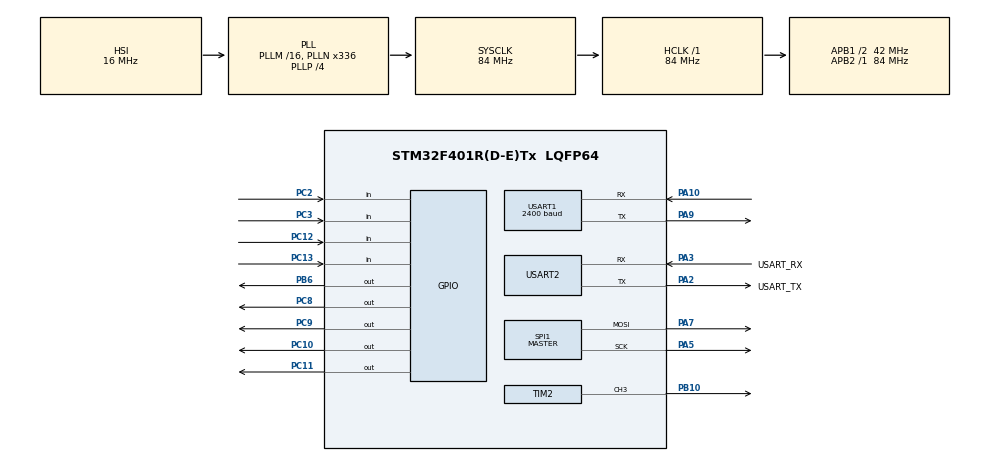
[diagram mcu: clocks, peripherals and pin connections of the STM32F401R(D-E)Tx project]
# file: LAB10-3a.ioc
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Dma.Request0=SPI1_TX
Dma.Request1=USART1_RX
Dma.SPI1_TX.0.Direction=DMA_MEMORY_TO_PERIPH
Dma.SPI1_TX.0.FIFOMode=DMA_FIFOMODE_DISABLE
Dma.SPI1_TX.0.Instance=DMA2_Stream3
Dma.SPI1_TX.0.MemDataAlignment=DMA_MDATAALIGN_BYTE
Dma.SPI1_TX.0.MemInc=DMA_MINC_ENABLE
Dma.SPI1_TX.0.Mode=DMA_NORMAL
Dma.SPI1_TX.0.PeriphDataAlignment=DMA_PDATAALIGN_BYTE
Dma.SPI1_TX.0.PeriphInc=DMA_PINC_DISABLE
Dma.SPI1_TX.0.Priority=DMA_PRIORITY_LOW
Dma.USART1_RX.1.Direction=DMA_PERIPH_TO_MEMORY
Dma.USART1_RX.1.FIFOMode=DMA_FIFOMODE_DISABLE
Dma.USART1_RX.1.Instance=DMA2_Stream2
Dma.USART1_RX.1.MemDataAlignment=DMA_MDATAALIGN_BYTE
Dma.USART1_RX.1.MemInc=DMA_MINC_ENABLE
Dma.USART1_RX.1.Mode=DMA_NORMAL
Dma.USART1_RX.1.PeriphDataAlignment=DMA_PDATAALIGN_BYTE
Dma.USART1_RX.1.PeriphInc=DMA_PINC_DISABLE
Dma.USART1_RX.1.Priority=DMA_PRIORITY_LOW
Mcu.Family=STM32F4
Mcu.Name=STM32F401R(D-E)Tx
Mcu.Package=LQFP64
NVIC.DMA2_Stream2_IRQn=true\:0\:0\:false\:false\:true\:false\:true\:true
NVIC.DMA2_Stream3_IRQn=true\:0\:0\:false\:false\:true\:false\:true\:true
NVIC.PriorityGroup=NVIC_PRIORITYGROUP_4
NVIC.TIM3_IRQn=true\:0\:0\:false\:false\:true\:true\:true\:true
NVIC.TIM4_IRQn=true\:1\:0\:false\:false\:true\:true\:true\:true
NVIC.USART1_IRQn=true\:0\:0\:false\:false\:true\:true\:true\:true
PA10.Mode=Asynchronous
PA10.Signal=USART1_RX
PA13.GPIO_Label=TMS
PA13.Mode=Trace_Asynchronous_SW
PA13.Signal=SYS_JTMS-SWDIO
PA14.GPIO_Label=TCK
PA14.Mode=Trace_Asynchronous_SW
PA14.Signal=SYS_JTCK-SWCLK
PA2.GPIO_Label=USART_TX
PA2.GPIO_Mode=GPIO_MODE_AF_PP
PA2.GPIO_PuPd=GPIO_NOPULL
PA2.GPIO_Speed=GPIO_SPEED_FREQ_LOW
PA2.Mode=Asynchronous
PA2.Signal=USART2_TX
PA3.GPIO_Label=USART_RX
PA3.GPIO_Mode=GPIO_MODE_AF_PP
PA3.GPIO_PuPd=GPIO_NOPULL
PA3.GPIO_Speed=GPIO_SPEED_FREQ_LOW
PA3.Mode=Asynchronous
PA3.Signal=USART2_RX
PA5.Mode=TX_Only_Simplex_Unidirect_Master
PA5.Signal=SPI1_SCK
PA7.Mode=TX_Only_Simplex_Unidirect_Master
PA7.Signal=SPI1_MOSI
PA9.Mode=Asynchronous
PA9.Signal=USART1_TX
PB10.Signal=S_TIM2_CH3
PB3.GPIO_Label=SWO
PB3.Mode=Trace_Asynchronous_SW
PB3.Signal=SYS_JTDO-SWO
PB6.Signal=GPIO_Output
PC10.Signal=GPIO_Output
PC11.Signal=GPIO_Output
PC12.Signal=GPIO_Input
PC13-ANTI_TAMP.Signal=GPIO_Input
PC14-OSC32_IN.Mode=LSE-External-Oscillator
PC14-OSC32_IN.Signal=RCC_OSC32_IN
PC15-OSC32_OUT.Mode=LSE-External-Oscillator
PC15-OSC32_OUT.Signal=RCC_OSC32_OUT
PC2.Signal=GPIO_Input
PC3.Signal=GPIO_Input
PC8.Signal=GPIO_Output
PC9.Signal=GPIO_Output
PH0\ -\ OSC_IN.Mode=HSE-External-Clock-Source
PH0\ -\ OSC_IN.Signal=RCC_OSC_IN
PH1\ -\ OSC_OUT.Mode=HSE-External-Clock-Source
PH1\ -\ OSC_OUT.Signal=RCC_OSC_OUT
ProjectManager.HeapSize=0x200
ProjectManager.StackSize=0x400
ProjectManager.TargetToolchain=STM32CubeIDE
RCC.48MHZClocksFreq_Value=48000000
RCC.AHBFreq_Value=84000000
RCC.APB1CLKDivider=RCC_HCLK_DIV2
RCC.APB1Freq_Value=42000000
RCC.APB1TimFreq_Value=84000000
RCC.APB2Freq_Value=84000000
RCC.APB2TimFreq_Value=84000000
RCC.CortexFreq_Value=84000000
RCC.HCLKFreq_Value=84000000
RCC.HSE_VALUE=8000000
RCC.HSI_VALUE=16000000
RCC.PLLN=336
RCC.PLLP=RCC_PLLP_DIV4
RCC.PLLQ=7
RCC.SYSCLKFreq_VALUE=84000000
RCC.SYSCLKSource=RCC_SYSCLKSOURCE_PLLCLK
RCC.VCOOutputFreq_Value=336000000
SH.S_TIM2_CH3.0=TIM2_CH3,PWM Generation3 CH3
SPI1.BaudRatePrescaler=SPI_BAUDRATEPRESCALER_4
SPI1.Direction=SPI_DIRECTION_2LINES
SPI1.Mode=SPI_MODE_MASTER
SPI1.VirtualType=VM_MASTER
TIM2.Channel-PWM\ Generation3\ CH3=TIM_CHANNEL_3
TIM2.Period=736
TIM2.Prescaler=2
TIM2.Pulse-PWM\ Generation3\ CH3=368
TIM3.Period=34999
TIM4.Period=39
TIM4.Prescaler=8399
USART1.BaudRate=2400
USART1.VirtualMode=VM_ASYNC
USART2.VirtualMode=VM_ASYNC
VP_TIM3_VS_ClockSourceINT.Mode=Internal
VP_TIM4_VS_ClockSourceINT.Mode=Internal
board=NUCLEO-F401RE

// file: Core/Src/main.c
/* USER CODE BEGIN Header */
/**
  ******************************************************************************
  * @file           : main.c
  * @brief          : Main program body
  ******************************************************************************
  * @attention
  *
  * Copyright (c) 2026 STMicroelectronics.
  * All rights reserved.
  *
  * This software is licensed under terms that can be found in the LICENSE file
  * in the root directory of this software component.
  * If no LICENSE file comes with this software, it is provided AS-IS.
  *
  ******************************************************************************
  */
/* USER CODE END Header */
#include "main.h"

SPI_HandleTypeDef hspi1;
DMA_HandleTypeDef hdma_spi1_tx;

TIM_HandleTypeDef htim2;
TIM_HandleTypeDef htim3;
TIM_HandleTypeDef htim4;

UART_HandleTypeDef huart1;
UART_HandleTypeDef huart2;
DMA_HandleTypeDef hdma_usart1_rx;

/* USER CODE BEGIN PV */

/* Keyboard variables --------------------------------------------------------*/

// Row and Column pin definitions for the 4x4 keypad
const uint16_t column_pins[4] = { GPIO_PIN_8, GPIO_PIN_9, GPIO_PIN_10, GPIO_PIN_11 };
const uint16_t row_pins[4] = { GPIO_PIN_12, GPIO_PIN_13, GPIO_PIN_2, GPIO_PIN_3 };

// State tracking arrays for debouncing
uint8_t stable[4][4] = {0};
uint8_t counter[4][4] = {0};

uint8_t col_index = 0;
uint8_t row_index = 0;

const uint8_t lut[4][4] = {
		{'0', '1', '2', '3'},
		{'4', '5', '6', '7'},
		{'8', '9', 'A', 'B'},
		{'C', 'D', 'E', 'F'}
};

/* LED matrix variables ------------------------------------------------------*/

// 5-column pattern for the led matrix letters
const uint8_t led_matrix_letters[16][5][2] = {
	{{62,  16}, {113, 8}, {73,  4}, {71,  2}, {62,  1}}, // Number 0
	{{33,  16}, {65,  8}, {127, 4}, {1,   2}, {1,   1}}, // Number 1
	{{35,  16}, {69,  8}, {73,  4}, {81,  2}, {33,  1}}, // Number 2
	{{65,  16}, {73,  8}, {73,  4}, {73,  2}, {54,  1}}, // Number 3
	{{120, 16}, {8,   8}, {8,   4}, {127, 2}, {8,   1}}, // Number 4
	{{121, 16}, {73,  8}, {73,  4}, {73,  2}, {70,  1}}, // Number 5
	{{62,  16}, {73,  8}, {73,  4}, {73,  2}, {70,  1}}, // Number 6
	{{64,  16}, {64,  8}, {67,  4}, {76,  2}, {112, 1}}, // Number 7
	{{54,  16}, {73,  8}, {73,  4}, {73,  2}, {54,  1}}, // Number 8
	{{48,  16}, {72,  8}, {72,  4}, {72,  2}, {63,  1}}, // Number 9
	{{31,  16}, {36,  8}, {68,  4}, {36,  2}, {31,  1}}, // Letter A
	{{127, 16}, {73,  8}, {73,  4}, {73,  2}, {54,  1}}, // Letter B
	{{62,  16}, {65,  8}, {65,  4}, {65,  2}, {34,  1}}, // Letter C
	{{127, 16}, {65,  8}, {65,  4}, {65,  2}, {62,  1}}, // Letter D
	{{127, 16}, {73,  8}, {73,  4}, {73,  2}, {65,  1}}, // Letter E
	{{127, 16}, {72,  8}, {72,  4}, {72,  2}, {64,  1}}, // Letter F
};

uint8_t led_current_column = 0;
uint8_t led_current_char_index = 0;

// SPI buffer
uint8_t tx_buffer[2];

/* IR Transmission variables -------------------------------------------------*/

volatile uint8_t IR_busy_flag = 0;
volatile uint8_t IR_tx_byte;
volatile uint8_t IR_tx_bit_index = 0;

/* IR receive variables ------------------------------------------------------*/

uint8_t IR_rx_byte;

/* USER CODE END PV */

void SystemClock_Config(void);
static void MX_GPIO_Init(void);
static void MX_DMA_Init(void);
static void MX_USART2_UART_Init(void);
static void MX_USART1_UART_Init(void);
static void MX_SPI1_Init(void);
static void MX_TIM2_Init(void);
static void MX_TIM3_Init(void);
static void MX_TIM4_Init(void);

/* USER CODE BEGIN 0 */

// This function initiates the transmission of a byte via the IR transmitter.
void IR_Transmit_Byte(uint8_t byte)
{
  // Check if the IR transmitter is currently busy
  if (IR_busy_flag == 1) return;

  // Reset the bit index for the new transmission
  IR_busy_flag = 1;
  IR_tx_byte = byte;

  // Start the timer to begin the transmission process
  HAL_TIM_Base_Start_IT(&htim3);
}

// This function handles the transmission of bits for the IR transmitter.
void IR_transmission_routine()
{
  switch (IR_tx_bit_index) {

    case 0:

      // Start the PWM signal for the start bit
      HAL_TIM_PWM_Start(&htim2, TIM_CHANNEL_3);
      break;

    case 9:

      // Stop the PWM signal for the stop bit
      HAL_TIM_PWM_Stop(&htim2, TIM_CHANNEL_3);
      break;

    case 10:

      HAL_TIM_Base_Stop(&htim3);
      IR_busy_flag = 0;
      break;

    default:

      if ((IR_tx_byte >> (IR_tx_bit_index - 1)) & 0x01) {

        // Send '1' by stopping the PWM signal
        HAL_TIM_PWM_Stop(&htim2, TIM_CHANNEL_3);

      } else {

        // Send '0' by starting the PWM signal
        HAL_TIM_PWM_Start(&htim2, TIM_CHANNEL_3);
      }
  }

  // Move to the next bit in the transmission sequence
  IR_tx_bit_index = (IR_tx_bit_index + 1) % 11;
}

// This function reads the state of the keyboard and handles debouncing.
void keyboard_read_routine()
{
  // Read the row for the current active column
  for (row_index = 0; row_index < 4; ++row_index) {

    // Check the status of the key
    uint8_t pressed = (HAL_GPIO_ReadPin(GPIOC, row_pins[row_index]) == GPIO_PIN_RESET);

    // Debounce logic
    if (pressed == stable[row_index][col_index]) {

      counter[row_index][col_index] = 0;

    } else {

      counter[row_index][col_index]++;

      // Validate input after it has been stable for 4 consecutive polling cycles
      if (counter[row_index][col_index] > 4) {

        stable[row_index][col_index] = pressed;
        counter[row_index][col_index] = 0;

        // Transmit the character via IR
        if (pressed) IR_Transmit_Byte(lut[row_index][col_index]);
      }
    }
  }

  // Move to the next column
  HAL_GPIO_WritePin(GPIOC, column_pins[col_index], GPIO_PIN_RESET);
  col_index = (col_index + 1) % 4;
  HAL_GPIO_WritePin(GPIOC, column_pins[col_index], GPIO_PIN_SET);
}

// This function refreshes the LED matrix display by sending the current column data via SPI.
void led_refresh_routine()
{
  // Load the buffer explicitly safely for DMA
  tx_buffer[0] = led_matrix_letters[led_current_char_index][led_current_column][0];
  tx_buffer[1] = led_matrix_letters[led_current_char_index][led_current_column][1];

  // Pull the RCLK pin LOW
  HAL_GPIO_WritePin(GPIOB, GPIO_PIN_6, GPIO_PIN_RESET);

  // Start the 2-byte SPI transfer using DMA and the dedicated buffer
  HAL_SPI_Transmit_DMA(&hspi1, tx_buffer, 2);
}

/* USER CODE END 0 */

int main(void)
{

  /* MCU Configuration--------------------------------------------------------*/

  /* Reset of all peripherals, Initializes the Flash interface and the Systick. */
  HAL_Init();

  /* Configure the system clock */
  SystemClock_Config();

  /* Initialize all configured peripherals */
  MX_GPIO_Init();
  MX_DMA_Init();
  MX_USART2_UART_Init();
  MX_USART1_UART_Init();
  MX_SPI1_Init();
  MX_TIM2_Init();
  MX_TIM3_Init();
  MX_TIM4_Init();
  /* USER CODE BEGIN 2 */

  // Start listening for incoming IR UART data
  HAL_UART_Receive_DMA(&huart1, &IR_rx_byte, 1);

  // Start the UI polling timer (Keypad and LED multiplexing)
  HAL_TIM_Base_Start_IT(&htim4);

  /* USER CODE END 2 */

  /* Infinite loop */
  while (1)
  {

  }
}

void SystemClock_Config(void)
{
  RCC_OscInitTypeDef RCC_OscInitStruct = {0};
  RCC_ClkInitTypeDef RCC_ClkInitStruct = {0};

  /** Configure the main internal regulator output voltage
  */
  __HAL_RCC_PWR_CLK_ENABLE();
  __HAL_PWR_VOLTAGESCALING_CONFIG(PWR_REGULATOR_VOLTAGE_SCALE2);

  /** Initializes the RCC Oscillators according to the specified parameters
  * in the RCC_OscInitTypeDef structure.
  */
  RCC_OscInitStruct.OscillatorType = RCC_OSCILLATORTYPE_HSI;
  RCC_OscInitStruct.HSIState = RCC_HSI_ON;
  RCC_OscInitStruct.HSICalibrationValue = RCC_HSICALIBRATION_DEFAULT;
  RCC_OscInitStruct.PLL.PLLState = RCC_PLL_ON;
  RCC_OscInitStruct.PLL.PLLSource = RCC_PLLSOURCE_HSI;
  RCC_OscInitStruct.PLL.PLLM = 16;
  RCC_OscInitStruct.PLL.PLLN = 336;
  RCC_OscInitStruct.PLL.PLLP = RCC_PLLP_DIV4;
  RCC_OscInitStruct.PLL.PLLQ = 7;
  if (HAL_RCC_OscConfig(&RCC_OscInitStruct) != HAL_OK)
  {
    Error_Handler();
  }

  /** Initializes the CPU, AHB and APB buses clocks
  */
  RCC_ClkInitStruct.ClockType = RCC_CLOCKTYPE_HCLK|RCC_CLOCKTYPE_SYSCLK
                              |RCC_CLOCKTYPE_PCLK1|RCC_CLOCKTYPE_PCLK2;
  RCC_ClkInitStruct.SYSCLKSource = RCC_SYSCLKSOURCE_PLLCLK;
  RCC_ClkInitStruct.AHBCLKDivider = RCC_SYSCLK_DIV1;
  RCC_ClkInitStruct.APB1CLKDivider = RCC_HCLK_DIV2;
  RCC_ClkInitStruct.APB2CLKDivider = RCC_HCLK_DIV1;

  if (HAL_RCC_ClockConfig(&RCC_ClkInitStruct, FLASH_LATENCY_2) != HAL_OK)
  {
    Error_Handler();
  }
}

static void MX_SPI1_Init(void)
{

  /* SPI1 parameter configuration*/
  hspi1.Instance = SPI1;
  hspi1.Init.Mode = SPI_MODE_MASTER;
  hspi1.Init.Direction = SPI_DIRECTION_2LINES;
  hspi1.Init.DataSize = SPI_DATASIZE_8BIT;
  hspi1.Init.CLKPolarity = SPI_POLARITY_LOW;
  hspi1.Init.CLKPhase = SPI_PHASE_1EDGE;
  hspi1.Init.NSS = SPI_NSS_SOFT;
  hspi1.Init.BaudRatePrescaler = SPI_BAUDRATEPRESCALER_4;
  hspi1.Init.FirstBit = SPI_FIRSTBIT_MSB;
  hspi1.Init.TIMode = SPI_TIMODE_DISABLE;
  hspi1.Init.CRCCalculation = SPI_CRCCALCULATION_DISABLE;
  hspi1.Init.CRCPolynomial = 10;
  if (HAL_SPI_Init(&hspi1) != HAL_OK)
  {
    Error_Handler();
  }

}

static void MX_TIM2_Init(void)
{

  TIM_MasterConfigTypeDef sMasterConfig = {0};
  TIM_OC_InitTypeDef sConfigOC = {0};

  htim2.Instance = TIM2;
  htim2.Init.Prescaler = 2;
  htim2.Init.CounterMode = TIM_COUNTERMODE_UP;
  htim2.Init.Period = 736;
  htim2.Init.ClockDivision = TIM_CLOCKDIVISION_DIV1;
  htim2.Init.AutoReloadPreload = TIM_AUTORELOAD_PRELOAD_DISABLE;
  if (HAL_TIM_PWM_Init(&htim2) != HAL_OK)
  {
    Error_Handler();
  }
  sMasterConfig.MasterOutputTrigger = TIM_TRGO_RESET;
  sMasterConfig.MasterSlaveMode = TIM_MASTERSLAVEMODE_DISABLE;
  if (HAL_TIMEx_MasterConfigSynchronization(&htim2, &sMasterConfig) != HAL_OK)
  {
    Error_Handler();
  }
  sConfigOC.OCMode = TIM_OCMODE_PWM1;
  sConfigOC.Pulse = 368;
  sConfigOC.OCPolarity = TIM_OCPOLARITY_HIGH;
  sConfigOC.OCFastMode = TIM_OCFAST_DISABLE;
  if (HAL_TIM_PWM_ConfigChannel(&htim2, &sConfigOC, TIM_CHANNEL_3) != HAL_OK)
  {
    Error_Handler();
  }
  HAL_TIM_MspPostInit(&htim2);

}

static void MX_TIM3_Init(void)
{

  TIM_ClockConfigTypeDef sClockSourceConfig = {0};
  TIM_MasterConfigTypeDef sMasterConfig = {0};

  htim3.Instance = TIM3;
  htim3.Init.Prescaler = 0;
  htim3.Init.CounterMode = TIM_COUNTERMODE_UP;
  htim3.Init.Period = 34999;
  htim3.Init.ClockDivision = TIM_CLOCKDIVISION_DIV1;
  htim3.Init.AutoReloadPreload = TIM_AUTORELOAD_PRELOAD_DISABLE;
  if (HAL_TIM_Base_Init(&htim3) != HAL_OK)
  {
    Error_Handler();
  }
  sClockSourceConfig.ClockSource = TIM_CLOCKSOURCE_INTERNAL;
  if (HAL_TIM_ConfigClockSource(&htim3, &sClockSourceConfig) != HAL_OK)
  {
    Error_Handler();
  }
  sMasterConfig.MasterOutputTrigger = TIM_TRGO_RESET;
  sMasterConfig.MasterSlaveMode = TIM_MASTERSLAVEMODE_DISABLE;
  if (HAL_TIMEx_MasterConfigSynchronization(&htim3, &sMasterConfig) != HAL_OK)
  {
    Error_Handler();
  }

}

static void MX_TIM4_Init(void)
{

  TIM_ClockConfigTypeDef sClockSourceConfig = {0};
  TIM_MasterConfigTypeDef sMasterConfig = {0};

  htim4.Instance = TIM4;
  htim4.Init.Prescaler = 8399;
  htim4.Init.CounterMode = TIM_COUNTERMODE_UP;
  htim4.Init.Period = 39;
  htim4.Init.ClockDivision = TIM_CLOCKDIVISION_DIV1;
  htim4.Init.AutoReloadPreload = TIM_AUTORELOAD_PRELOAD_DISABLE;
  if (HAL_TIM_Base_Init(&htim4) != HAL_OK)
  {
    Error_Handler();
  }
  sClockSourceConfig.ClockSource = TIM_CLOCKSOURCE_INTERNAL;
  if (HAL_TIM_ConfigClockSource(&htim4, &sClockSourceConfig) != HAL_OK)
  {
    Error_Handler();
  }
  sMasterConfig.MasterOutputTrigger = TIM_TRGO_RESET;
  sMasterConfig.MasterSlaveMode = TIM_MASTERSLAVEMODE_DISABLE;
  if (HAL_TIMEx_MasterConfigSynchronization(&htim4, &sMasterConfig) != HAL_OK)
  {
    Error_Handler();
  }

}

static void MX_USART1_UART_Init(void)
{

  huart1.Instance = USART1;
  huart1.Init.BaudRate = 2400;
  huart1.Init.WordLength = UART_WORDLENGTH_8B;
  huart1.Init.StopBits = UART_STOPBITS_1;
  huart1.Init.Parity = UART_PARITY_NONE;
  huart1.Init.Mode = UART_MODE_TX_RX;
  huart1.Init.HwFlowCtl = UART_HWCONTROL_NONE;
  huart1.Init.OverSampling = UART_OVERSAMPLING_16;
  if (HAL_UART_Init(&huart1) != HAL_OK)
  {
    Error_Handler();
  }

}

static void MX_USART2_UART_Init(void)
{

  huart2.Instance = USART2;
  huart2.Init.BaudRate = 115200;
  huart2.Init.WordLength = UART_WORDLENGTH_8B;
  huart2.Init.StopBits = UART_STOPBITS_1;
  huart2.Init.Parity = UART_PARITY_NONE;
  huart2.Init.Mode = UART_MODE_TX_RX;
  huart2.Init.HwFlowCtl = UART_HWCONTROL_NONE;
  huart2.Init.OverSampling = UART_OVERSAMPLING_16;
  if (HAL_UART_Init(&huart2) != HAL_OK)
  {
    Error_Handler();
  }

}

static void MX_DMA_Init(void)
{

  /* DMA controller clock enable */
  __HAL_RCC_DMA2_CLK_ENABLE();

  /* DMA interrupt init */
  /* DMA2_Stream2_IRQn interrupt configuration */
  HAL_NVIC_SetPriority(DMA2_Stream2_IRQn, 0, 0);
  HAL_NVIC_EnableIRQ(DMA2_Stream2_IRQn);
  /* DMA2_Stream3_IRQn interrupt configuration */
  HAL_NVIC_SetPriority(DMA2_Stream3_IRQn, 0, 0);
  HAL_NVIC_EnableIRQ(DMA2_Stream3_IRQn);

}

static void MX_GPIO_Init(void)
{
  GPIO_InitTypeDef GPIO_InitStruct = {0};

  /* GPIO Ports Clock Enable */
  __HAL_RCC_GPIOC_CLK_ENABLE();
  __HAL_RCC_GPIOH_CLK_ENABLE();
  __HAL_RCC_GPIOA_CLK_ENABLE();
  __HAL_RCC_GPIOB_CLK_ENABLE();

  /*Configure GPIO pin Output Level */
  HAL_GPIO_WritePin(GPIOC, GPIO_PIN_8|GPIO_PIN_9|GPIO_PIN_10|GPIO_PIN_11, GPIO_PIN_RESET);

  /*Configure GPIO pin Output Level */
  HAL_GPIO_WritePin(GPIOB, GPIO_PIN_6, GPIO_PIN_RESET);

  /*Configure GPIO pins : PC13 PC2 PC3 PC12 */
  GPIO_InitStruct.Pin = GPIO_PIN_13|GPIO_PIN_2|GPIO_PIN_3|GPIO_PIN_12;
  GPIO_InitStruct.Mode = GPIO_MODE_INPUT;
  GPIO_InitStruct.Pull = GPIO_NOPULL;
  HAL_GPIO_Init(GPIOC, &GPIO_InitStruct);

  /*Configure GPIO pins : PC8 PC9 PC10 PC11 */
  GPIO_InitStruct.Pin = GPIO_PIN_8|GPIO_PIN_9|GPIO_PIN_10|GPIO_PIN_11;
  GPIO_InitStruct.Mode = GPIO_MODE_OUTPUT_PP;
  GPIO_InitStruct.Pull = GPIO_NOPULL;
  GPIO_InitStruct.Speed = GPIO_SPEED_FREQ_LOW;
  HAL_GPIO_Init(GPIOC, &GPIO_InitStruct);

  /*Configure GPIO pin : PB6 */
  GPIO_InitStruct.Pin = GPIO_PIN_6;
  GPIO_InitStruct.Mode = GPIO_MODE_OUTPUT_PP;
  GPIO_InitStruct.Pull = GPIO_NOPULL;
  GPIO_InitStruct.Speed = GPIO_SPEED_FREQ_LOW;
  HAL_GPIO_Init(GPIOB, &GPIO_InitStruct);

}

/* USER CODE BEGIN 4 */

// This callback is triggered when the SPI transmission is complete.
void HAL_SPI_TxCpltCallback(SPI_HandleTypeDef *hspi)
{
  if (hspi->Instance == SPI1) {

    // Latch the 16 bits to output the pins
    HAL_GPIO_WritePin(GPIOB, GPIO_PIN_6, GPIO_PIN_SET);

    // Increment the column index
    led_current_column = (led_current_column + 1) % 5;
  }
}

// This callback is triggered when the UART reception is complete.
void HAL_UART_RxCpltCallback(UART_HandleTypeDef *huart)
{
  // Decode ASCII to index for led_matrix_letters
  if (IR_rx_byte >= '0' && IR_rx_byte <= '9') {

	  led_current_char_index = IR_rx_byte - '0';

  } else if (IR_rx_byte >= 'A' && IR_rx_byte <= 'F') {

	  led_current_char_index = IR_rx_byte - 'A' + 10;
  }

  // Restart reception for the next byte
  HAL_UART_Receive_DMA(&huart1, &IR_rx_byte, 1);
}

// This callback is triggered when a UART error occurs.
void HAL_UART_ErrorCallback(UART_HandleTypeDef *huart)
{
  // If the IR receiver gets overwhelmed by noise and crashes, just restart it.
  if (huart->Instance == USART1) {
    HAL_UART_Receive_DMA(&huart1, &IR_rx_byte, 1);
  }
}

// This callback is triggered when a timer period elapses.
void HAL_TIM_PeriodElapsedCallback(TIM_HandleTypeDef *htim)
{
  // IR Transmission strictly timed at 2400Hz
  if (htim->Instance == TIM3) {
	  IR_transmission_routine();
  }

  // UI Multiplexing and Keyboard Polling
  if (htim->Instance == TIM4) {
    keyboard_read_routine();
    led_refresh_routine();
  }
}

/* USER CODE END 4 */

void Error_Handler(void)
{
  __disable_irq();
  while (1)
  {
  }
}
